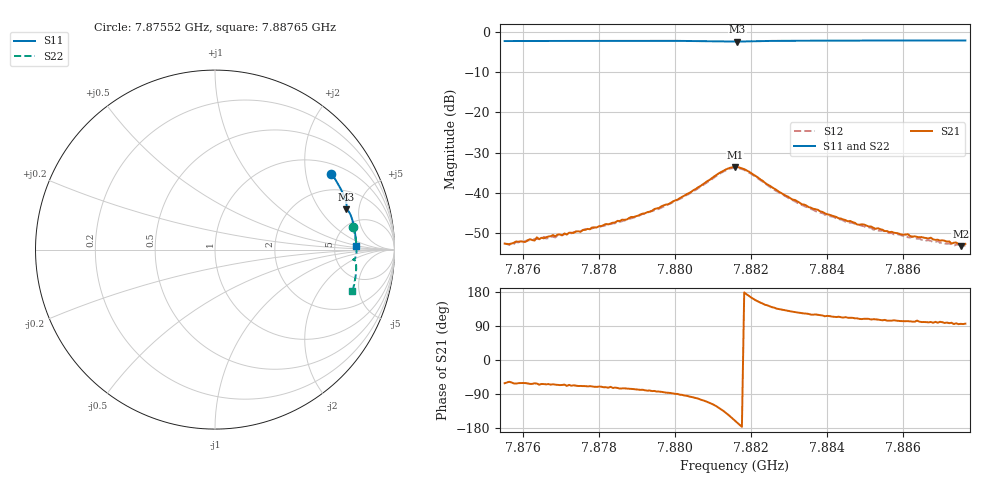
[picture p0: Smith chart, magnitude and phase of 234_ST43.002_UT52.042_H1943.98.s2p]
#  HZ  S  DB  R  50.00
! Rohde & Schwarz Vector Network Analyzer
! Rohde-Schwarz,ZNB20-2Port,1311601062101988,3.16
! Created: UTC 1/12/2023, 6:46:50 PM
! freq[Hz]  db:S11  ang:S11  db:S21  ang:S21  db:S12  ang:S12  db:S22  ang:S22
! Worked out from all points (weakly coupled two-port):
!   201 points, 7.87552 GHz to 7.88765 GHz, reference 50 ohm
!   highest |S21| = -33.56 dB at 7.88159 GHz (marker M1); lowest = -53.3 dB at 7.88753 GHz (marker M2)
!   lowest |S11| = -2.4 dB at 7.88165 GHz (marker M3), VSWR 7.43, Z = 169 + j181 ohm
!   |S11| at or under -10 dB: nowhere
!   |S22| runs from -2.2 to -1.9 dB; largest |S21 - S12| = 0.0015
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7.875522e9  -2.22 33.1  -52.67 -61.4  -52.75 -62.8  -2.15 9.4
7.875643e9  -2.22 32.8  -52.80 -57.4  -53.05 -63.0  -2.15 9.1
7.876189e9  -2.21 31.3  -51.57 -63.1  -51.93 -65.7  -2.13 7.9
7.87631e9  -2.21 31.0  -51.94 -61.5  -51.52 -65.6  -2.13 7.5
7.876371e9  -2.21 30.8  -51.14 -62.2  -51.56 -65.7  -2.13 7.4
7.876553e9  -2.21 30.3  -51.38 -63.5  -51.01 -66.7  -2.13 7.0
7.876856e9  -2.21 29.5  -50.87 -65.2  -51.15 -66.9  -2.11 6.3
7.877584e9  -2.19 27.5  -49.30 -68.8  -49.29 -71.8  -2.09 4.6
7.878433e9  -2.18 25.2  -47.42 -72.8  -47.62 -77.4  -2.08 2.6
7.879586e9  -2.18 22.0  -43.81 -83.3  -44.03 -85.6  -2.06 -0.0
7.880374e9  -2.19 19.7  -40.12 -96.2  -40.36 -99.5  -2.08 -2.0
7.881284e9  -2.31 17.4  -34.54 -134.6  -34.72 -138.1  -2.21 -4.0
7.881587e9  -2.35 17.1  -33.56 -160.3  -33.84 -163.9  -2.24 -4.1
7.881648e9  -2.35 17.1  -33.63 -165.8  -33.89 -169.0  -2.23 -4.2
7.882012e9  -2.28 16.7  -35.10 164.9  -35.29 162.0  -2.17 -4.3
7.883043e9  -2.15 13.9  -41.37 128.3  -41.72 125.4  -2.02 -6.7
7.883649e9  -2.13 12.2  -44.01 119.7  -44.28 116.8  -2.00 -8.1
7.884802e9  -2.11 9.1  -47.92 110.1  -47.84 105.5  -1.97 -10.7
7.885651e9  -2.10 6.9  -49.84 104.0  -50.08 101.4  -1.96 -12.6
7.88741e9  -2.08 2.3  -52.41 96.9  -52.95 92.4  -1.94 -16.4
7.887531e9  -2.08 1.9  -53.31 95.5  -53.05 93.5  -1.93 -16.7
7.887653e9  -2.08 1.6  -52.77 95.8  -53.14 92.7  -1.93 -16.9
